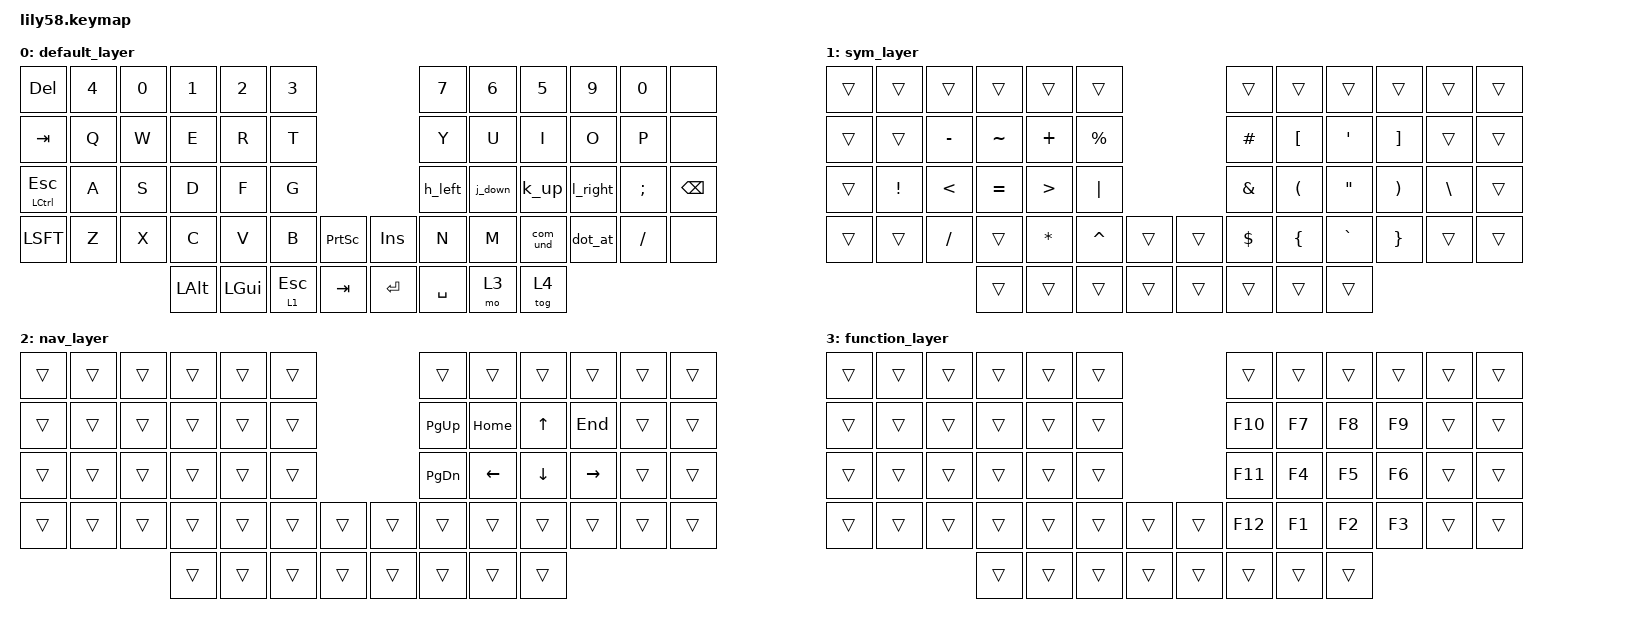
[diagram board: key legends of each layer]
/*
 * Copyright (c) 2020 The ZMK Contributors
 *
 * SPDX-License-Identifier: MIT
 */

#include <behaviors.dtsi>
#include <dt-bindings/zmk/keys.h>
#include <dt-bindings/zmk/bt.h>
#include <dt-bindings/zmk/ext_power.h>

&mt {
  flavor = "tap-preferred";
  tapping-term-ms = <200>;
  quick-tap-ms = <300>;
};
&lt {
  flavor = "tap-preferred";
  tapping-term-ms = <200>;
  quick-tap-ms = <300>;
};

/ {

  behaviors {
    //    0  1  2  3  4  5        6  7  8  9 10 11
    //   12 13 14 15 16 17       18 19 20 21 22 23
    //   24 25 26 27 28 29       30 31 32 33 34 35
    //   36 37 38 39 40 41 42 43 44 45 46 47 48 49
    //            50 51 52 53 54 55 56 57

    // // h1: home1 {
    //   compatible = "zmk,behavior-hold-tap";
    //   label = "HOME1";
    //   tapping-term-ms = <250>;
    //   quick-tap-ms = <300>;
    //   flavor = "tap-preferred";
    //   #binding-cells = <2>;
    //   bindings = <&kp>, <&kp>;
    // };
    //
    // h2: home2 {
    //   compatible = "zmk,behavior-hold-tap";
    //   label = "HOME2";
    //   tapping-term-ms = <225>;
    //   quick-tap-ms = <300>;
    //   flavor = "tap-preferred";
    //   #binding-cells = <2>;
    //   bindings = <&kp>, <&kp>;
    // };
    //
    // h3: home3 {
    //   compatible = "zmk,behavior-hold-tap";
    //   label = "HOME3";
    //   tapping-term-ms = <175>;
    //   quick-tap-ms = <300>;
    //   flavor = "tap-preferred";
    //   #binding-cells = <2>;
    //   bindings = <&kp>, <&kp>;
    // };
    //
    // h4: home4 {
    //   compatible = "zmk,behavior-hold-tap";
    //   label = "HOME4";
    //   tapping-term-ms = <200>;
    //   quick-tap-ms = <300>;
    //   flavor = "tap-preferred";
    //   #binding-cells = <2>;
    //   bindings = <&kp>, <&kp>;
    // };

    com_und: comm_unds {
      compatible = "zmk,behavior-mod-morph";
      label = "COMM_UNDS";
      #binding-cells = <0>;
      bindings = <&kp COMMA>, <&kp UNDER>;
      mods = <(MOD_LSFT|MOD_RSFT)>;
    };

    dot_at: dot_at {
      compatible = "zmk,behavior-mod-morph";
      label = "DOT_AT";
      #binding-cells = <0>;
      bindings = <&kp DOT>, <&kp AT>;
      mods = <(MOD_LSFT|MOD_RSFT)>;
    };

    h_left: h_left {
      compatible = "zmk,behavior-mod-morph";
      label = "H_LEFT";
      #binding-cells = <0>;
      bindings = <&kp H>, <&kp LEFT>;
      mods = <(MOD_LCTL)>;
    };

    j_down: j_down {
      compatible = "zmk,behavior-mod-morph";
      label = "J_DOWN";
      #binding-cells = <0>;
      bindings = <&kp J>, <&kp DOWN>;
      mods = <(MOD_LCTL)>;
    };

    k_up: k_up {
      compatible = "zmk,behavior-mod-morph";
      label = "J_DOWN";
      #binding-cells = <0>;
      bindings = <&kp K>, <&kp UP>;
      mods = <(MOD_LCTL)>;
    };

    l_right: l_right {
      compatible = "zmk,behavior-mod-morph";
      label = "J_DOWN";
      #binding-cells = <0>;
      bindings = <&kp L>, <&kp RIGHT>;
      mods = <(MOD_LCTL)>;
    };

    qmt: quick_mod_tap {
      compatible = "zmk,behavior-hold-tap";
      label = "QUICK_MOD_TAP";
      tapping-term-ms = <0>;
      retro-tap;
      flavor = "hold-preferred";
      #binding-cells = <2>;
      bindings = <&kp>, <&kp>;
    };

    qlt: quick_layer_tap {
      compatible = "zmk,behavior-hold-tap";
      label = "QUICK_LAYER_TAP";
      tapping-term-ms = <0>;
      retro-tap;
      flavor = "hold-preferred";
      #binding-cells = <2>;
      bindings = <&mo>, <&kp>;
    };

  };

  combos {
    compatible = "zmk,combos";

    //    0  1  2  3  4  5        6  7  8  9 10 11
    //   12 13 14 15 16 17       18 19 20 21 22 23
    //   24 25 26 27 28 29       30 31 32 33 34 35
    //   36 37 38 39 40 41 42 43 44 45 46 47 48 49
    //            50 51 52 53 54 55 56 57
    // combo_tilde {
    //   timeout-ms = <50>;
    //   key-positions = <26 27>;
    //   layers = <1>;
    //   bindings = <&kp TILDE>;
    // };
    // combo_percent {
    //   timeout-ms = <50>;
    //   key-positions = <27 28>;
    //   layers = <1>;
    //   bindings = <&kp PERCENT>;
    // };
    // combo_hash {
    //   timeout-ms = <50>;
    //   key-positions = <31 32>;
    //   layers = <1>;
    //   bindings = <&kp HASH>;
    // };
    // combo_grave {
    //   timeout-ms = <50>;
    //   key-positions = <32 33>;
    //   layers = <1>;
    //   bindings = <&kp GRAVE>;
    // };
  };

  keymap {
    compatible = "zmk,keymap";

    default_layer {
      bindings = <
        &kp DEL        &kp N4      &kp N0      &kp N1      &kp N2      &kp N3                               &kp N7       &kp N6      &kp N5      &kp N9      &kp N0         &none
        &kp TAB        &kp Q       &kp W       &kp E       &kp R       &kp T                                &kp Y        &kp U       &kp I       &kp O       &kp P          &none
        &qmt LCTL ESC  &kp A       &kp S       &kp D       &kp F       &kp G                                &h_left      &j_down     &k_up       &l_right    &kp SEMI       &kp BSPC
        &kp LSFT       &kp Z       &kp X       &kp C       &kp V       &kp B       &kp PSCRN     &kp INS    &kp N        &kp M       &com_und    &dot_at     &kp FSLH       &none
                                               &kp LALT    &kp LGUI    &qlt 1 ESC  &kp TAB       &kp RET    &kp SPACE    &mo 3       &tog 4
      >;
    };

    sym_layer {
      bindings = <
        &trans       &trans      &trans      &trans      &trans      &trans                                 &trans       &trans      &trans      &trans      &trans         &trans
        &trans       &trans      &kp MINUS   &kp TILDE   &kp PLUS    &kp PRCNT                              &kp HASH     &kp LBKT    &kp SQT     &kp RBKT    &trans         &trans
        &trans       &kp EXCL    &kp LT      &kp EQUAL   &kp GT      &kp PIPE                               &kp AMPS     &kp LPAR    &kp DQT     &kp RPAR    &kp BSLH       &trans
        &trans       &trans      &kp FSLH    &trans      &kp STAR    &kp CARET     &trans        &trans     &kp DLLR     &kp LBRC    &kp GRAVE   &kp RBRC    &trans         &trans
                                             &trans      &trans      &trans        &trans        &trans     &trans       &trans      &trans
      >;
    };

    // sym_layer {
    //   bindings = <
    //     &trans       &trans      &trans      &trans      &trans      &trans                                 &trans       &trans      &trans      &trans      &trans         &trans
    //     &trans       &kp N4      &kp N0      &kp N1      &kp N2      &kp N3                                 &kp N7       &kp N6      &kp N5      &kp N9      &kp N0         &trans
    //     &trans       &kp LBRC    &kp LT      &kp LBKT    &kp LPAR    &kp PIPE                               &kp AMPS     &kp RPAR    &kp RBKT    &kp GT      &kp RBRC       &trans
    //     &trans       &kp BSLH    &kp EXCL    &kp PLUS    &kp MINUS   &kp CARET     &trans        &trans     &kp DLLR     &kp EQUAL   &kp STAR    &trans      &trans         &trans
    //                                          &trans      &trans      &trans        &trans        &trans     &trans       &trans      &trans
    //   >;
    // };

    nav_layer {
      bindings = <
        &trans       &trans      &trans      &trans      &trans      &trans                                 &trans       &trans      &trans      &trans      &trans         &trans
        &trans       &trans      &trans      &trans      &trans      &trans                                 &kp PG_UP    &kp HOME    &kp UP      &kp END     &trans         &trans
        &trans       &trans      &trans      &trans      &trans      &trans                                 &kp PG_DN    &kp LEFT    &kp DOWN    &kp RIGHT   &trans         &trans
        &trans       &trans      &trans      &trans      &trans      &trans        &trans        &trans     &trans       &trans      &trans      &trans      &trans         &trans
                                             &trans      &trans      &trans        &trans        &trans     &trans       &trans      &trans
      >;
    };

    function_layer {
      bindings = <
        &trans       &trans      &trans      &trans      &trans      &trans                                 &trans       &trans      &trans      &trans      &trans      &trans
        &trans       &trans      &trans      &trans      &trans      &trans                                 &kp F10      &kp F7      &kp F8      &kp F9      &trans      &trans
        &trans       &trans      &trans      &trans      &trans      &trans                                 &kp F11      &kp F4      &kp F5      &kp F6      &trans      &trans
        &trans       &trans      &trans      &trans      &trans      &trans        &trans        &trans     &kp F12      &kp F1      &kp F2      &kp F3      &trans      &trans
                                             &trans      &trans      &trans        &trans        &trans     &trans       &trans      &trans
      >;
    };

    // media_layer {
    //   bindings = <
    //     &trans       &trans       &trans       &trans       &trans     &trans                               &trans       &trans      &trans      &trans      &trans      &trans
    //     &trans       &kp C_BRI_UP &kp C_VOL_UP &kp C_BRI_DN &trans     &trans                               &kp KP_N0    &kp KP_N7   &kp KP_N8   &kp KP_N9   &trans      &trans
    //     &trans       &kp C_PREV   &kp C_PP     &kp C_NEXT   &trans     &trans                               &kp KP_N0    &kp KP_N4   &kp KP_N5   &kp KP_N6   &trans      &trans
    //     &trans       &bt BT_SEL 0 &kp C_VOL_DN &bt BT_SEL 1 &bt BT_CLR &trans      &trans        &trans     &kp KP_N0    &kp KP_N1   &kp KP_N2   &kp KP_N3   &trans      &trans
    //                                            &trans       &trans     &trans      &trans        &trans     &trans       &trans      &trans
    //   >;
    // };
  };
};
